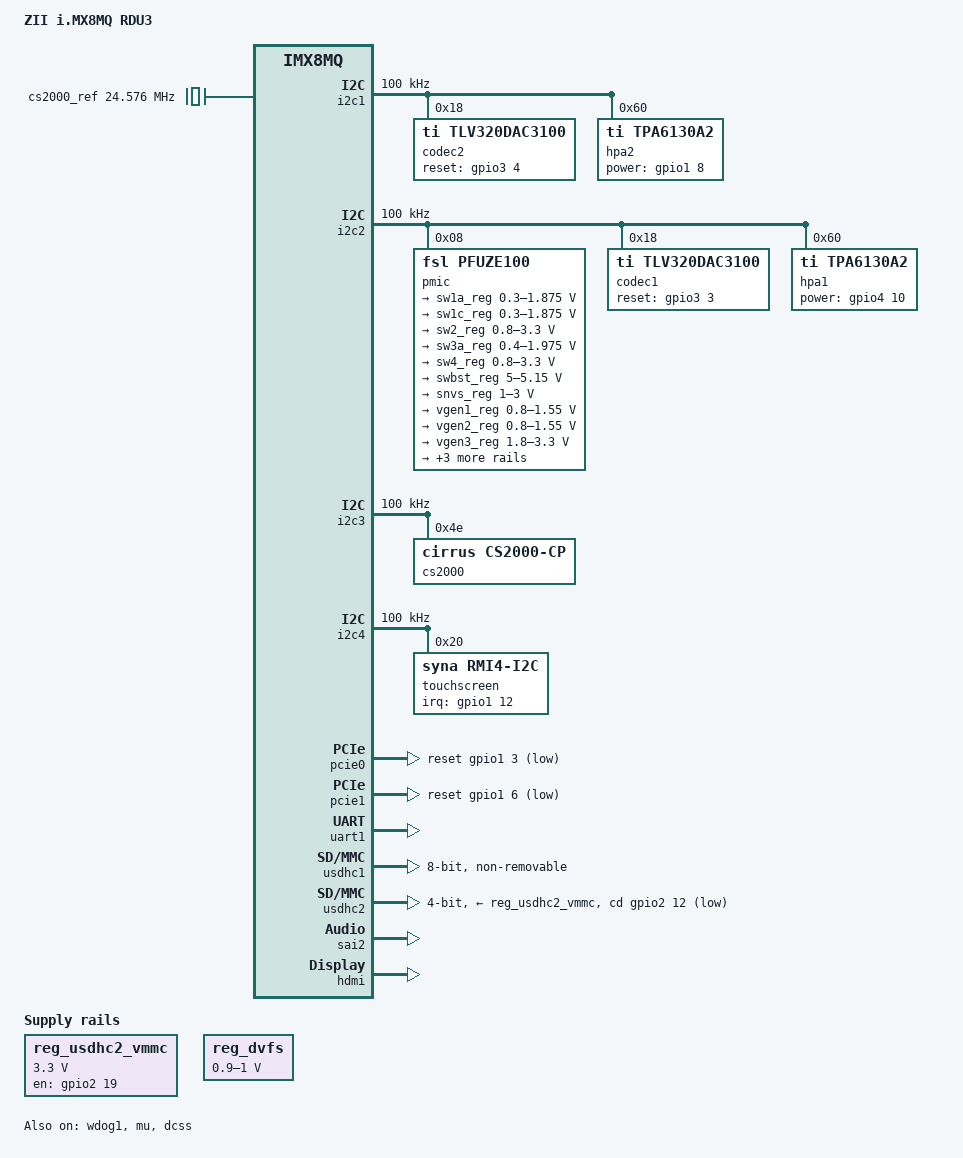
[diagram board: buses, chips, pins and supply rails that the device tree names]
/*
 * Copyright 2017 NXP
 *
 * This program is free software; you can redistribute it and/or
 * modify it under the terms of the GNU General Public License
 * as published by the Free Software Foundation; either version 2
 * of the License, or (at your option) any later version.
 *
 * This program is distributed in the hope that it will be useful,
 * but WITHOUT ANY WARRANTY; without even the implied warranty of
 * MERCHANTABILITY or FITNESS FOR A PARTICULAR PURPOSE.  See the
 * GNU General Public License for more details.
 */

/dts-v1/;

#include "../freescale/fsl-imx8mq.dtsi"

/ {
	model = "ZII i.MX8MQ RDU3";
	compatible = "zii,imx8mq-rdu3", "fsl,imx8mq";

	chosen {
		bootargs = "console=ttymxc0,115200 earlycon=ec_imx6q,0x30860000,115200";
		stdout-path = &uart1;
	};
#if 0
	mdio0: bitbang-mdio {
		compatible = "virtual,mdio-gpio";
		pinctrl-names = "default";
		pinctrl-0 = <&pinctrl_bitbang_mdc>, <&pinctrl_bitbang_mdio>;
		gpios = <&gpio1 13 GPIO_ACTIVE_HIGH>, /* MDC */
			<&gpio1 14 GPIO_ACTIVE_HIGH>; /* MDIO */
		#address-cells = <1>;
		#size-cells = <0>;

		phy0: ethernet-phy@0 {
			reg = <0>;
			device_type = "ethernet-phy";
		};
	};
#endif
	reg_usdhc2_vmmc: usdhc2_vmmc {
		compatible = "regulator-fixed";
		regulator-name = "VSD_3V3";
		regulator-min-microvolt = <3300000>;
		regulator-max-microvolt = <3300000>;
		gpio = <&gpio2 19 GPIO_ACTIVE_HIGH>;
		enable-active-high;
	};

	reg_dvfs: regulator-gpio {
		compatible = "regulator-gpio";
		pinctrl-names = "default";
		pinctrl-0 = <&pinctrl_dvfs>;
		regulator-min-microvolt = <900000>;
		regulator-max-microvolt = <1000000>;
		regulator-name = "gpio_arm_od_en";
		regulator-type = "voltage";
		gpios = <&gpio3 16 GPIO_ACTIVE_HIGH>;
		states = <900000 0x0 1000000 0x1>;
	};

	cs2000_ref: cs2000-ref {
		compatible = "fixed-clock";
		#clock-cells = <0>;
		clock-frequency = <24576000>;
	};

	cs2000_in_dummy: cs2000-in-dummy {
		compatible = "fixed-clock";
		#clock-cells = <0>;
		clock-frequency = <0>;
	};	

	sound1 {
		compatible = "simple-audio-card";
		simple-audio-card,name = "Front";
		simple-audio-card,format = "i2s";
		simple-audio-card,bitclock-master = <&sound1_codec>;
		simple-audio-card,frame-master = <&sound1_codec>;
		simple-audio-card,widgets =
			"Headphone", "Headphone Jack";
		simple-audio-card,routing =
			"Headphone Jack", "HPLEFT",
			"Headphone Jack", "HPRIGHT",
			"LEFTIN", "HPL",
			"RIGHTIN", "HPR";
		simple-audio-card,aux-devs = <&hpa1>;

		simple-audio-card,cpu {
			sound-dai = <&sai2>;
		};

		sound1_codec: simple-audio-card,codec {
			sound-dai = <&codec1>;
			clocks = <&cs2000>;
		};
	};

	sound2 {
		compatible = "simple-audio-card";
		simple-audio-card,name = "Back";
		simple-audio-card,format = "i2s";
		simple-audio-card,bitclock-master = <&sound2_codec>;
		simple-audio-card,frame-master = <&sound2_codec>;
		simple-audio-card,widgets =
			"Headphone", "Headphone Jack";
		simple-audio-card,routing =
			"Headphone Jack", "HPLEFT",
			"Headphone Jack", "HPRIGHT",
			"LEFTIN", "HPL",
			"RIGHTIN", "HPR";
		simple-audio-card,aux-devs = <&hpa2>;

		simple-audio-card,cpu {
			sound-dai = <&sai3>;
		};

		sound2_codec: simple-audio-card,codec {
			sound-dai = <&codec2>;
			clocks = <&cs2000>;
		};
	};
};

&clk {
	assigned-clocks = <&clk IMX8MQ_AUDIO_PLL1>, <&clk IMX8MQ_AUDIO_PLL2>;
	assigned-clock-rates = <786432000>, <722534400>;
};

#if 0
&fec1 {
	pinctrl-names = "default";
	pinctrl-0 = <&pinctrl_fec1>;
	phy-mode = "rgmii-id";
	phy-handle = <&ethphy0>;
	fsl,magic-packet;
	status = "okay";

	mdio {
		#address-cells = <1>;
		#size-cells = <0>;

		ethphy0: ethernet-phy@0 {
			compatible = "ethernet-phy-ieee802.3-c22";
			reg = <0>;
		};
	};
};
#endif

&i2c1 {
	clock-frequency = <100000>;
	pinctrl-names = "default";
	pinctrl-0 = <&pinctrl_i2c1>;
	status = "okay";

	codec2: codec@18 {
		compatible = "ti,tlv320dac3100";
		pinctrl-names = "default";
		pinctrl-0 = <&pinctrl_codec2>;
		reg = <0x18>;
		#sound-dai-cells = <0>;
#if 0		
		HPVDD-supply = <&reg_3p3v>;
		SPRVDD-supply = <&reg_3p3v>;
		SPLVDD-supply = <&reg_3p3v>;
		AVDD-supply = <&reg_3p3v>;
		IOVDD-supply = <&reg_3p3v>;
		DVDD-supply = <&vgen4_reg>;
#endif		
		gpio-reset = <&gpio3 4 GPIO_ACTIVE_HIGH>;
	};

	hpa2: amp@60 {
		compatible = "ti,tpa6130a2";
		pinctrl-names = "default";
		pinctrl-0 = <&pinctrl_tpa2>;
		reg = <0x60>;
		power-gpio = <&gpio1 8 GPIO_ACTIVE_HIGH>;
		/* Vdd-supply = <&reg_5p0v_main>; */
	};

};

&i2c2 {
	clock-frequency = <100000>;
	pinctrl-names = "default";
	pinctrl-0 = <&pinctrl_i2c2>;
	status = "okay";

	pmic: pfuze100@08 {
		compatible = "fsl,pfuze100";
		reg = <0x08>;

		regulators {
			sw1a_reg: sw1ab {
				regulator-min-microvolt = <300000>;
				regulator-max-microvolt = <1875000>;
			};

			sw1c_reg: sw1c {
				regulator-min-microvolt = <300000>;
				regulator-max-microvolt = <1875000>;
			};

			sw2_reg: sw2 {
				regulator-min-microvolt = <800000>;
				regulator-max-microvolt = <3300000>;
				regulator-always-on;
			};

			sw3a_reg: sw3ab {
				regulator-min-microvolt = <400000>;
				regulator-max-microvolt = <1975000>;
				regulator-always-on;
			};

			sw4_reg: sw4 {
				regulator-min-microvolt = <800000>;
				regulator-max-microvolt = <3300000>;
				regulator-always-on;
			};

			swbst_reg: swbst {
				regulator-min-microvolt = <5000000>;
				regulator-max-microvolt = <5150000>;
			};

			snvs_reg: vsnvs {
				regulator-min-microvolt = <1000000>;
				regulator-max-microvolt = <3000000>;
				regulator-always-on;
			};

			vref_reg: vrefddr {
				regulator-always-on;
			};

			vgen1_reg: vgen1 {
				regulator-min-microvolt = <800000>;
				regulator-max-microvolt = <1550000>;
			};

			vgen2_reg: vgen2 {
				regulator-min-microvolt = <800000>;
				regulator-max-microvolt = <1550000>;
				regulator-always-on;
			};

			vgen3_reg: vgen3 {
				regulator-min-microvolt = <1800000>;
				regulator-max-microvolt = <3300000>;
				regulator-always-on;
			};

			vgen4_reg: vgen4 {
				regulator-min-microvolt = <1800000>;
				regulator-max-microvolt = <3300000>;
				regulator-always-on;
			};

			vgen5_reg: vgen5 {
				regulator-min-microvolt = <1800000>;
				regulator-max-microvolt = <3300000>;
				regulator-always-on;
			};

			vgen6_reg: vgen6 {
				regulator-min-microvolt = <1800000>;
				regulator-max-microvolt = <3300000>;
			};
		};
	};

	codec1: codec@18 {
		compatible = "ti,tlv320dac3100";
		pinctrl-names = "default";
		pinctrl-0 = <&pinctrl_codec1>;
		reg = <0x18>;
		#sound-dai-cells = <0>;
#if 0		
		HPVDD-supply = <&reg_3p3v>;
		SPRVDD-supply = <&reg_3p3v>;
		SPLVDD-supply = <&reg_3p3v>;
		AVDD-supply = <&reg_3p3v>;
		IOVDD-supply = <&reg_3p3v>;
		DVDD-supply = <&vgen4_reg>;
#endif		
		gpio-reset = <&gpio3 3 GPIO_ACTIVE_HIGH>;
	};	

	hpa1: amp@60 {
		compatible = "ti,tpa6130a2";
		pinctrl-names = "default";
		pinctrl-0 = <&pinctrl_tpa1>;
		reg = <0x60>;
		power-gpio = <&gpio4 10 GPIO_ACTIVE_HIGH>;
		/* Vdd-supply = <&reg_5p0v_main>; */
	};
};

&i2c3 {
	clock-frequency = <100000>;
	pinctrl-names = "default";
	pinctrl-0 = <&pinctrl_i2c3>;
	status = "okay";

	cs2000: clkgen@4e {
		compatible = "cirrus,cs2000-cp";
		reg = <0x4e>;
		#clock-cells = <0>;
		clock-names = "clk_in", "ref_clk";
		clocks = <&cs2000_in_dummy>, <&cs2000_ref>;
		assigned-clocks = <&cs2000>;
		assigned-clock-rates = <24000000>;
	};
};

&i2c4 {
	clock-frequency = <100000>;
	pinctrl-names = "default";
	pinctrl-0 = <&pinctrl_i2c4>;
	status = "okay";

	touchscreen@20 {
		compatible = "syna,rmi4-i2c";
		pinctrl-names = "default";
		pinctrl-0 = <&pinctrl_ts>;
		reg = <0x20>;
		interrupt-parent = <&gpio1>;
		interrupts = <12 IRQ_TYPE_LEVEL_LOW>;
		/* vdd-supply = <&reg_5p0v_main>; */
		/* vio-supply = <&reg_3p3v>; */

		#address-cells = <1>;
		#size-cells = <0>;

		rmi4-f01@1 {
			reg = <0x1>;
			syna,nosleep-mode = <2>;
		};

		rmi4-f11@11 {
			reg = <0x11>;
			touchscreen-inverted-y;
			touchscreen-swapped-x-y;
			syna,sensor-type = <1>;
		};

		rmi4-f12@12 {
			reg = <0x12>;
			touchscreen-inverted-y;
			touchscreen-swapped-x-y;
			syna,sensor-type = <1>;
		};
	};	
};

&pcie0{
	pinctrl-names = "default";
	pinctrl-0 = <&pinctrl_pcie0>;
	clkreq-gpio = <&gpio5 28 GPIO_ACTIVE_LOW>;
	reset-gpio = <&gpio1 3 GPIO_ACTIVE_LOW>;
	ext_osc = <1>;
	hard-wired = <1>;	
	status = "okay";
};

&pcie1{
	pinctrl-names = "default";
	pinctrl-0 = <&pinctrl_pcie1>;
	clkreq-gpio = <&gpio5 29 GPIO_ACTIVE_LOW>;
	reset-gpio = <&gpio1 6 GPIO_ACTIVE_LOW>;
	hard-wired = <1>;
	ext_osc = <1>;
	status = "okay";
};

&uart1 { /* console */
	pinctrl-names = "default";
	pinctrl-0 = <&pinctrl_uart1>;
	assigned-clocks = <&clk IMX8MQ_CLK_UART1_SRC>;
	assigned-clock-parents = <&clk IMX8MQ_CLK_25M>;
	status = "okay";
};

&usdhc1 {
	pinctrl-names = "default", "state_100mhz", "state_200mhz";
	pinctrl-0 = <&pinctrl_usdhc1>;
	pinctrl-1 = <&pinctrl_usdhc1_100mhz>;
	pinctrl-2 = <&pinctrl_usdhc1_200mhz>;
	bus-width = <8>;
	no-sd;
	no-sdio;
	non-removable;
	status = "okay";
};

&usdhc2 {
	pinctrl-names = "default", "state_100mhz", "state_200mhz";
	pinctrl-0 = <&pinctrl_usdhc2>, <&pinctrl_usdhc2_gpio>;
	pinctrl-1 = <&pinctrl_usdhc2_100mhz>, <&pinctrl_usdhc2_gpio>;
	pinctrl-2 = <&pinctrl_usdhc2_200mhz>, <&pinctrl_usdhc2_gpio>;
	bus-width = <4>;
	cd-gpios = <&gpio2 12 GPIO_ACTIVE_LOW>;
	vmmc-supply = <&reg_usdhc2_vmmc>;
	status = "okay";
};

/* &usb3_phy0 { */
/* 	status = "okay"; */
/* }; */

/* &usb3_0 { */
/* 	status = "okay"; */
/* }; */

/* &usb_dwc3_0 { */
/* 	status = "okay"; */
/* 	extcon = <&typec_ptn5100>; */
/* 	dr_mode = "otg"; */
/* }; */

/* &usb3_phy1 { */
/* 	status = "okay"; */
/* }; */

/* &usb3_1 { */
/* 	status = "okay"; */
/* }; */

/* &usb_dwc3_1 { */
/* 	status = "okay"; */
/* 	dr_mode = "host"; */
/* }; */

&wdog1 {
	pinctrl-names = "default";
	pinctrl-0 = <&pinctrl_wdog>;
	fsl,ext-reset-output;
	status = "okay";
};

&mu {
	status = "okay";
};

&A53_0 {
	operating-points = <
		/* kHz    uV */
		1500000 1000000
		1300000 1000000
		1000000 900000
		800000  900000
	>;
	dc-supply = <&reg_dvfs>;
};

&sai2 {
	pinctrl-names = "default";
	pinctrl-0 = <&pinctrl_sai2>;
	assigned-clocks = <&clk IMX8MQ_CLK_SAI2_SRC>,
			<&clk IMX8MQ_CLK_SAI2_DIV>;
	assigned-clock-parents = <&clk IMX8MQ_AUDIO_PLL1_OUT>;
	assigned-clock-rates = <0>, <24576000>;
	status = "okay";

	#sound-dai-cells = <0>;
};
#if 0
&sai3 {
	pinctrl-names = "default";
	pinctrl-0 = <&pinctrl_sai3>;
	assigned-clocks = <&clk IMX8MQ_CLK_SAI3_SRC>,
			<&clk IMX8MQ_CLK_SAI3_DIV>;
	assigned-clock-parents = <&clk IMX8MQ_AUDIO_PLL1_OUT>;
	assigned-clock-rates = <0>, <24576000>;
	status = "okay";

	#sound-dai-cells = <0>;
};
#endif

&iomuxc {
	pinctrl-names = "default";
	pinctrl-0 = <&pinctrl_hog>;

	imx8mq-evk {
		pinctrl_hog: hoggrp {
			fsl,pins = <
				MX8MQ_IOMUXC_NAND_WE_B_GPIO3_IO17		0x19
				MX8MQ_IOMUXC_NAND_WP_B_GPIO3_IO18		0x19
			>;
		};

		pinctrl_fec1: fec1grp {
			fsl,pins = <
				MX8MQ_IOMUXC_ENET_MDC_ENET1_MDC		0x3
				MX8MQ_IOMUXC_ENET_MDIO_ENET1_MDIO	0x23
				MX8MQ_IOMUXC_ENET_TD3_ENET1_RGMII_TD3	0x1f
				MX8MQ_IOMUXC_ENET_TD2_ENET1_RGMII_TD2	0x1f
				MX8MQ_IOMUXC_ENET_TD1_ENET1_RGMII_TD1	0x1f
				MX8MQ_IOMUXC_ENET_TD0_ENET1_RGMII_TD0	0x1f
				MX8MQ_IOMUXC_ENET_RD3_ENET1_RGMII_RD3	0x91
				MX8MQ_IOMUXC_ENET_RD2_ENET1_RGMII_RD2	0x91
				MX8MQ_IOMUXC_ENET_RD1_ENET1_RGMII_RD1	0x91
				MX8MQ_IOMUXC_ENET_RD0_ENET1_RGMII_RD0	0x91
				MX8MQ_IOMUXC_ENET_TXC_ENET1_RGMII_TXC	0x1f
				MX8MQ_IOMUXC_ENET_RXC_ENET1_RGMII_RXC	0x91
				MX8MQ_IOMUXC_ENET_RX_CTL_ENET1_RGMII_RX_CTL	0x91
				MX8MQ_IOMUXC_ENET_TX_CTL_ENET1_RGMII_TX_CTL	0x1f
				MX8MQ_IOMUXC_GPIO1_IO09_GPIO1_IO9	0x19
			>;
		};

		pinctrl_i2c1: i2c1grp {
			fsl,pins = <
				MX8MQ_IOMUXC_I2C1_SCL_I2C1_SCL			0x4000007f
				MX8MQ_IOMUXC_I2C1_SDA_I2C1_SDA			0x4000007f
			>;
		};

		pinctrl_i2c2: i2c2grp {
			fsl,pins = <
				MX8MQ_IOMUXC_I2C2_SCL_I2C2_SCL			0x4000007f
				MX8MQ_IOMUXC_I2C2_SDA_I2C2_SDA			0x4000007f
			>;
		};

		pinctrl_i2c3: i2c3grp {
			fsl,pins = <
				MX8MQ_IOMUXC_I2C3_SCL_I2C3_SCL			0x4000007f
				MX8MQ_IOMUXC_I2C3_SDA_I2C3_SDA			0x4000007f
			>;
		};

		pinctrl_i2c4: i2c4grp {
			fsl,pins = <
				MX8MQ_IOMUXC_I2C4_SCL_I2C4_SCL			0x4000007f
				MX8MQ_IOMUXC_I2C4_SDA_I2C4_SDA			0x4000007f
			>;
		};

		pinctrl_pcie0: pcie0grp {
			fsl,pins = <
				MX8MQ_IOMUXC_GPIO1_IO03_GPIO1_IO3	0x16
				MX8MQ_IOMUXC_UART4_RXD_GPIO5_IO28	0x16
			>;
		};

		pinctrl_pcie1: pcie1grp {
			fsl,pins = <
				MX8MQ_IOMUXC_GPIO1_IO06_GPIO1_IO6	0x16
				MX8MQ_IOMUXC_UART4_TXD_GPIO5_IO29	0x16
			>;
		};

		pinctrl_dvfs: dvfsgrp {
			fsl,pins = <
				MX8MQ_IOMUXC_NAND_READY_B_GPIO3_IO16		0x16
			>;
		};

		/* pinctrl_typec: typecgrp { */
		/* 	fsl,pins = < */
		/* 		MX8MQ_IOMUXC_NAND_RE_B_GPIO3_IO15	0x16 */
		/* 		MX8MQ_IOMUXC_NAND_CE2_B_GPIO3_IO3	0x17059 */
		/* 	>; */
		/* }; */

		pinctrl_uart1: uart1grp {
			fsl,pins = <
				MX8MQ_IOMUXC_UART1_RXD_UART1_DCE_RX		0x49
				MX8MQ_IOMUXC_UART1_TXD_UART1_DCE_TX		0x49
			>;
		};

		pinctrl_usdhc1: usdhc1grp {
			fsl,pins = <
				MX8MQ_IOMUXC_SD1_CLK_USDHC1_CLK			0x83
				MX8MQ_IOMUXC_SD1_CMD_USDHC1_CMD			0xc3
				MX8MQ_IOMUXC_SD1_DATA0_USDHC1_DATA0		0xc3
				MX8MQ_IOMUXC_SD1_DATA1_USDHC1_DATA1		0xc3
				MX8MQ_IOMUXC_SD1_DATA2_USDHC1_DATA2		0xc3
				MX8MQ_IOMUXC_SD1_DATA3_USDHC1_DATA3		0xc3
				MX8MQ_IOMUXC_SD1_DATA4_USDHC1_DATA4		0xc3
				MX8MQ_IOMUXC_SD1_DATA5_USDHC1_DATA5		0xc3
				MX8MQ_IOMUXC_SD1_DATA6_USDHC1_DATA6		0xc3
				MX8MQ_IOMUXC_SD1_DATA7_USDHC1_DATA7		0xc3
				MX8MQ_IOMUXC_SD1_STROBE_USDHC1_STROBE		0x83
				MX8MQ_IOMUXC_SD1_RESET_B_USDHC1_RESET_B		0xc1
			>;
		};

		pinctrl_usdhc1_100mhz: usdhc1grp100mhz {
			fsl,pins = <
				MX8MQ_IOMUXC_SD1_CLK_USDHC1_CLK			0x85
				MX8MQ_IOMUXC_SD1_CMD_USDHC1_CMD			0xc5
				MX8MQ_IOMUXC_SD1_DATA0_USDHC1_DATA0		0xc5
				MX8MQ_IOMUXC_SD1_DATA1_USDHC1_DATA1		0xc5
				MX8MQ_IOMUXC_SD1_DATA2_USDHC1_DATA2		0xc5
				MX8MQ_IOMUXC_SD1_DATA3_USDHC1_DATA3		0xc5
				MX8MQ_IOMUXC_SD1_DATA4_USDHC1_DATA4		0xc5
				MX8MQ_IOMUXC_SD1_DATA5_USDHC1_DATA5		0xc5
				MX8MQ_IOMUXC_SD1_DATA6_USDHC1_DATA6		0xc5
				MX8MQ_IOMUXC_SD1_DATA7_USDHC1_DATA7		0xc5
				MX8MQ_IOMUXC_SD1_STROBE_USDHC1_STROBE		0x85
				MX8MQ_IOMUXC_SD1_RESET_B_USDHC1_RESET_B		0xc1
			>;
		};

		pinctrl_usdhc1_200mhz: usdhc1grp200mhz {
			fsl,pins = <
				MX8MQ_IOMUXC_SD1_CLK_USDHC1_CLK			0x87
				MX8MQ_IOMUXC_SD1_CMD_USDHC1_CMD			0xc7
				MX8MQ_IOMUXC_SD1_DATA0_USDHC1_DATA0		0xc7
				MX8MQ_IOMUXC_SD1_DATA1_USDHC1_DATA1		0xc7
				MX8MQ_IOMUXC_SD1_DATA2_USDHC1_DATA2		0xc7
				MX8MQ_IOMUXC_SD1_DATA3_USDHC1_DATA3		0xc7
				MX8MQ_IOMUXC_SD1_DATA4_USDHC1_DATA4		0xc7
				MX8MQ_IOMUXC_SD1_DATA5_USDHC1_DATA5		0xc7
				MX8MQ_IOMUXC_SD1_DATA6_USDHC1_DATA6		0xc7
				MX8MQ_IOMUXC_SD1_DATA7_USDHC1_DATA7		0xc7
				MX8MQ_IOMUXC_SD1_STROBE_USDHC1_STROBE		0x87
				MX8MQ_IOMUXC_SD1_RESET_B_USDHC1_RESET_B		0xc1
			>;
		};

		pinctrl_usdhc2_gpio: usdhc2grpgpio {
			fsl,pins = <
				MX8MQ_IOMUXC_SD2_CD_B_GPIO2_IO12	0x41
				MX8MQ_IOMUXC_SD2_RESET_B_GPIO2_IO19	0x41
			>;
		};

		pinctrl_usdhc2: usdhc2grp {
			fsl,pins = <
				MX8MQ_IOMUXC_SD2_CLK_USDHC2_CLK			0x83
				MX8MQ_IOMUXC_SD2_CMD_USDHC2_CMD			0xc3
				MX8MQ_IOMUXC_SD2_DATA0_USDHC2_DATA0		0xc3
				MX8MQ_IOMUXC_SD2_DATA1_USDHC2_DATA1		0xc3
				MX8MQ_IOMUXC_SD2_DATA2_USDHC2_DATA2		0xc3
				MX8MQ_IOMUXC_SD2_DATA3_USDHC2_DATA3		0xc3
				MX8MQ_IOMUXC_GPIO1_IO04_USDHC2_VSELECT		0xc1
			>;
		};

		pinctrl_usdhc2_100mhz: usdhc2grp100mhz {
			fsl,pins = <
				MX8MQ_IOMUXC_SD2_CLK_USDHC2_CLK			0x85
				MX8MQ_IOMUXC_SD2_CMD_USDHC2_CMD			0xc5
				MX8MQ_IOMUXC_SD2_DATA0_USDHC2_DATA0		0xc5
				MX8MQ_IOMUXC_SD2_DATA1_USDHC2_DATA1		0xc5
				MX8MQ_IOMUXC_SD2_DATA2_USDHC2_DATA2		0xc5
				MX8MQ_IOMUXC_SD2_DATA3_USDHC2_DATA3		0xc5
				MX8MQ_IOMUXC_GPIO1_IO04_USDHC2_VSELECT		0xc1
			>;
		};

		pinctrl_usdhc2_200mhz: usdhc2grp200mhz {
			fsl,pins = <
				MX8MQ_IOMUXC_SD2_CLK_USDHC2_CLK			0x87
				MX8MQ_IOMUXC_SD2_CMD_USDHC2_CMD			0xc7
				MX8MQ_IOMUXC_SD2_DATA0_USDHC2_DATA0		0xc7
				MX8MQ_IOMUXC_SD2_DATA1_USDHC2_DATA1		0xc7
				MX8MQ_IOMUXC_SD2_DATA2_USDHC2_DATA2		0xc7
				MX8MQ_IOMUXC_SD2_DATA3_USDHC2_DATA3		0xc7
				MX8MQ_IOMUXC_GPIO1_IO04_USDHC2_VSELECT		0xc1
			>;
		};


		pinctrl_wdog: wdoggrp {
			fsl,pins = <
				MX8MQ_IOMUXC_GPIO1_IO02_WDOG1_WDOG_B 0xc6
			>;
		};


		pinctrl_sai2: sai2grp {
			fsl,pins = <
				MX8MQ_IOMUXC_SAI2_TXFS_SAI2_TX_SYNC	0xd6
				MX8MQ_IOMUXC_SAI2_TXC_SAI2_TX_BCLK	0xd6
				MX8MQ_IOMUXC_SAI2_TXD0_SAI2_TX_DATA0	0xd6
			>;
		};

		pinctrl_sai3: sai3grp {
			fsl,pins = <
				MX8MQ_IOMUXC_SAI3_TXFS_SAI3_TX_SYNC	0xd6
				MX8MQ_IOMUXC_SAI3_TXC_SAI3_TX_BCLK	0xd6
				MX8MQ_IOMUXC_SAI3_TXD_SAI3_TX_DATA0	0xd6
			>;
		};

		pinctrl_tpa1: tpa1grp {
			fsl,pins = <
				MX8MQ_IOMUXC_SAI1_TXC_GPIO4_IO11	0x16
			>;
		};

		pinctrl_codec1: coded1grp {
			fsl,pins = <
				MX8MQ_IOMUXC_NAND_CE2_B_GPIO3_IO3	0x16

			>;
		};				

		pinctrl_tpa2: tpa2grp {
			fsl,pins = <
				MX8MQ_IOMUXC_GPIO1_IO08_GPIO1_IO8	0x16
			>;
		};

		pinctrl_ts: tsgrp {
			fsl,pins = <
				MX8MQ_IOMUXC_GPIO1_IO11_GPIO1_IO11	0x96
				MX8MQ_IOMUXC_GPIO1_IO12_GPIO1_IO12	0x96
				/* MX6QDL_PAD_GPIO_8__GPIO1_IO08		0x1b0b0 */
				/* MX6QDL_PAD_GPIO_7__GPIO1_IO07		0x1b0b0 */
			>;
		};

		pinctrl_codec2: coded2grp {
			fsl,pins = <
				MX8MQ_IOMUXC_NAND_CE3_B_GPIO3_IO4	0x16
			>;
		};
	};
};

&dcss {
	status = "okay";

	disp-dev = "hdmi_disp";
};

&hdmi {
	status = "okay";
	compatible = "fsl,imx8mq-dp";
	lane_mapping = <0xc6>;
	fsl,edp;
	edp_link_rate = <0x6>;
	edp_num_lanes = <0x4>;
};

/* &hdmi_cec { */
/* 	status = "okay"; */
/* }; */


